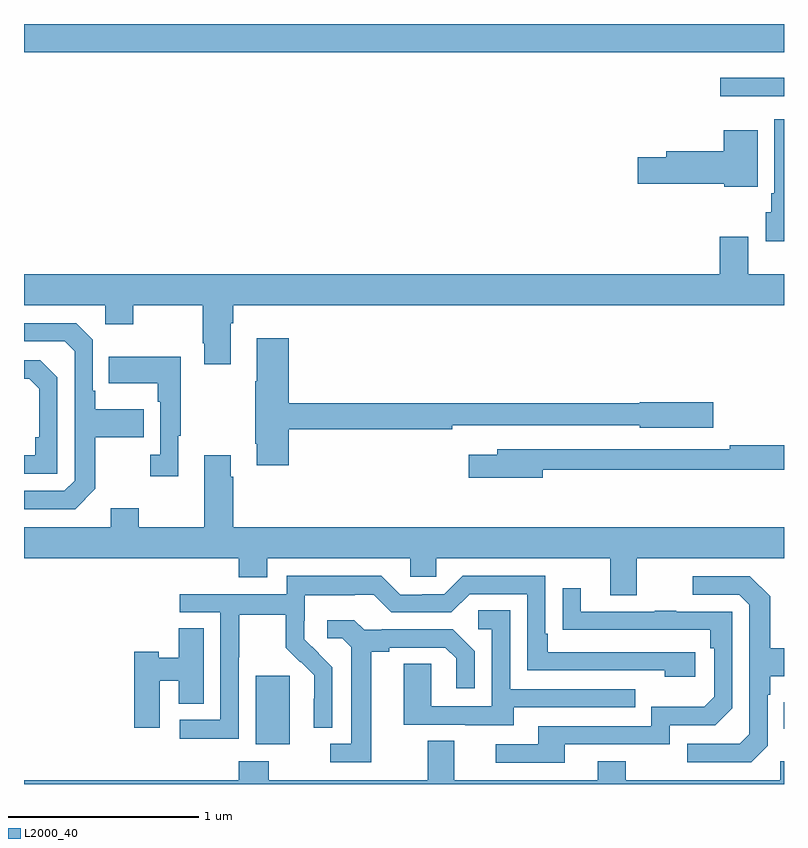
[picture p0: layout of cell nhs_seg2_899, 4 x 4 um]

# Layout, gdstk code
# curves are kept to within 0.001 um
import gdstk
lib = gdstk.Library(unit=1e-6, precision=1e-09)
def R(c, l, rs):  # rectangles x0, y0, x1, y1
    for r in rs: c.add(gdstk.rectangle(r[:2], r[2:], *l))
def P(c, l, *ps):  # polygons
    for p in ps: c.add(gdstk.Polygon(p, *l))
L2000_40 = (2000, 40)

nhs_seg2_899 = lib.new_cell('nhs_seg2_899')
R(nhs_seg2_899, L2000_40, [(158.219,628.01,158.398,628.371), (160.999,628.091,161,628.231), (160.665,631.419,161,631.516), (157,631.652,161,631.8)])
P(nhs_seg2_899, L2000_40, [(161,631.3),(160.949,631.3),(160.949,630.91),(160.934,630.91),(160.934,630.81),(160.904,630.81),(160.904,630.656),(161,630.656)],
  [(160.861,631.24),(160.682,631.24),(160.682,631.13),(160.379,631.13),(160.379,631.1),(160.23,631.1),(160.23,630.958),(160.686,630.958),(160.686,630.944),(160.861,630.944)],
  [(158.089,630.224),(158.102,630.224),(158.102,630.32),(161,630.32),(161,630.484),(160.813,630.484),(160.813,630.679),(160.661,630.679),(160.661,630.484),(157,630.484),(157,630.32),(157.428,630.32),(157.428,630.221),(157.575,630.221),(157.575,630.32),(157.942,630.32),(157.942,630.121),(157.949,630.121),(157.949,630.009),(158.089,630.009)],
  [(157.375,629.353),(157.375,629.626),(157.631,629.626),(157.631,629.773),(157.375,629.773),(157.375,629.869),(157.362,629.869),(157.362,630.138),(157.275,630.225),(157,630.225),(157,630.129),(157.215,630.129),(157.266,630.078),(157.266,629.397),(157.212,629.343),(157,629.343),(157,629.247),(157.269,629.247)],
  [(158.393,629.668),(159.254,629.668),(159.254,629.688),(160.242,629.688),(160.242,629.675),(160.627,629.675),(160.627,629.81),(160.242,629.81),(160.242,629.804),(158.393,629.804),(158.393,630.145),(158.225,630.145),(158.225,629.921),(158.218,629.921),(158.218,629.59),(158.225,629.59),(158.225,629.478),(158.393,629.478)],
  [(157.813,629.633),(157.825,629.633),(157.825,630.049),(157.447,630.049),(157.447,629.909),(157.704,629.909),(157.704,629.813),(157.716,629.813),(157.716,629.534),(157.665,629.534),(157.665,629.421),(157.813,629.421)],
  [(157.176,629.94),(157.086,630.03),(157,630.03),(157,629.933),(157.027,629.933),(157.08,629.88),(157.08,629.626),(157.06,629.626),(157.06,629.529),(157,629.529),(157,629.433),(157.176,629.433)],
  [(159.73,629.454),(161,629.454),(161,629.582),(160.714,629.582),(160.714,629.562),(159.491,629.562),(159.491,629.533),(159.342,629.533),(159.342,629.411),(159.73,629.411)],
  [(160.225,628.988),(161,628.988),(161,629.152),(158.102,629.152),(158.102,629.417),(158.089,629.417),(158.089,629.53),(157.949,629.53),(157.949,629.152),(157.605,629.152),(157.605,629.251),(157.457,629.251),(157.457,629.152),(157,629.152),(157,628.988),(158.129,628.988),(158.129,628.889),(158.281,628.889),(158.281,628.988),(159.033,628.988),(159.033,628.89),(159.171,628.89),(159.171,628.988),(160.085,628.988),(160.085,628.794),(160.225,628.794)],
  [(158.13,628.468),(158.133,628.468),(158.133,628.692),(158.377,628.692),(158.377,628.517),(158.454,628.44),(158.457,628.443),(158.528,628.373),(158.528,628.25),(158.526,628.25),(158.526,628.096),(158.622,628.096),(158.622,628.414),(158.476,628.562),(158.476,628.659),(158.478,628.659),(158.478,628.793),(158.741,628.793),(158.741,628.797),(158.841,628.797),(158.934,628.704),(159.249,628.704),(159.345,628.8),(159.648,628.8),(159.648,628.398),(160.373,628.398),(160.373,628.364),(160.534,628.364),(160.534,628.494),(159.757,628.494),(159.757,628.591),(159.744,628.591),(159.744,628.896),(159.309,628.896),(159.213,628.8),(159.095,628.8),(159.095,628.797),(158.979,628.797),(158.879,628.897),(158.382,628.897),(158.382,628.8),(157.821,628.8),(157.821,628.704),(158.034,628.704),(158.034,628.137),(157.821,628.137),(157.821,628.039),(158.13,628.039)],
  [(160.914,628.002),(160.914,628.271),(160.927,628.271),(160.927,628.367),(161,628.367),(161,628.515),(160.927,628.515),(160.927,628.787),(160.821,628.893),(160.521,628.893),(160.521,628.797),(160.764,628.797),(160.818,628.743),(160.818,628.062),(160.767,628.011),(160.491,628.011),(160.491,627.915),(160.827,627.915)],
  [(159.847,628.008),(160.398,628.008),(160.398,628.11),(160.638,628.11),(160.728,628.2),(160.728,628.707),(160.433,628.707),(160.433,628.712),(160.321,628.712),(160.321,628.707),(159.931,628.707),(159.931,628.831),(159.835,628.831),(159.835,628.612),(160.612,628.611),(160.612,628.514),(160.632,628.514),(160.632,628.26),(160.579,628.207),(160.302,628.207),(160.302,628.104),(159.707,628.104),(159.707,628.008),(159.483,628.008),(159.483,627.912),(159.847,627.912)],
  [(159.577,628.203),(160.217,628.203),(160.217,628.299),(159.558,628.299),(159.558,628.715),(159.39,628.715),(159.39,628.614),(159.462,628.614),(159.462,628.209),(159.144,628.209),(159.144,628.433),(158.999,628.433),(158.999,628.113),(159.323,628.113),(159.323,628.109),(159.577,628.109)],
  [(158.827,628.496),(158.923,628.496),(158.923,628.518),(159.218,628.518),(159.275,628.461),(159.275,628.305),(159.372,628.305),(159.372,628.498),(159.256,628.614),(158.884,628.614),(158.884,628.611),(158.79,628.611),(158.738,628.663),(158.595,628.663),(158.595,628.566),(158.676,628.566),(158.723,628.519),(158.723,628.011),(158.613,628.011),(158.613,627.915),(158.827,627.915)],
  [(157.714,628.343),(157.814,628.343),(157.814,628.222),(157.945,628.222),(157.945,628.619),(157.814,628.619),(157.814,628.465),(157.71,628.465),(157.71,628.496),(157.58,628.496),(157.58,628.095),(157.714,628.095)],
  [(161,627.919),(160.98,627.919),(160.98,627.82),(160.167,627.82),(160.167,627.919),(160.019,627.919),(160.019,627.82),(159.265,627.82),(159.265,628.028),(159.125,628.028),(159.125,627.82),(158.289,627.82),(158.289,627.919),(158.129,627.919),(158.129,627.82),(157,627.82),(157,627.8),(161,627.8)])

lib.write_gds('nhs_seg2_899.gds')
